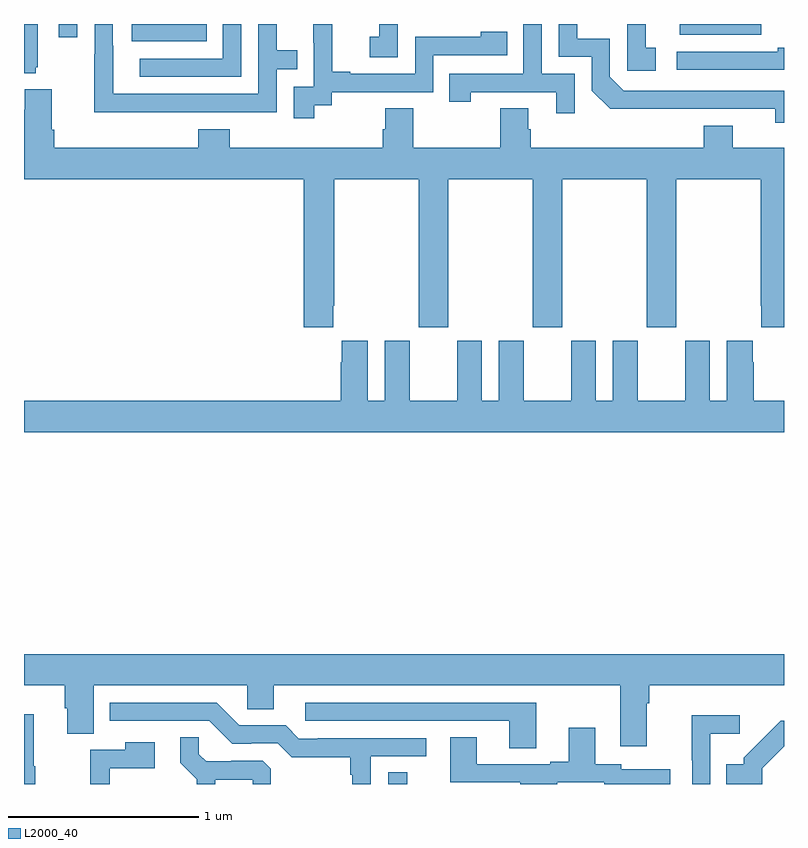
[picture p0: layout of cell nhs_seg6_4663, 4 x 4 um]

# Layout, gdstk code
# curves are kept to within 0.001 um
import gdstk
lib = gdstk.Library(unit=1e-6, precision=1e-09)
def R(c, l, rs):  # rectangles x0, y0, x1, y1
    for r in rs: c.add(gdstk.rectangle(r[:2], r[2:], *l))
def P(c, l, *ps):  # polygons
    for p in ps: c.add(gdstk.Polygon(p, *l))
L2000_40 = (2000, 40)

nhs_seg6_4663 = lib.new_cell('nhs_seg6_4663')
R(nhs_seg6_4663, L2000_40, [(388.917,929.5,389.016,929.561), (387.566,933.41,387.962,933.5), (387.183,933.429,387.279,933.5), (390.452,933.443,390.88,933.5)])
P(nhs_seg6_4663, L2000_40, [(387.062,933.273),(387.073,933.273),(387.073,933.5),(387,933.5),(387,933.242),(387.062,933.242)],
  [(388.143,933.5),(388.047,933.5),(388.047,933.318),(387.609,933.318),(387.609,933.222),(388.143,933.222)],
  [(390.325,933.375),(390.272,933.375),(390.272,933.5),(390.174,933.5),(390.174,933.255),(390.325,933.255)],
  [(387.833,933.036),(388.329,933.036),(388.329,933.261),(388.439,933.261),(388.439,933.362),(388.329,933.362),(388.329,933.5),(388.233,933.5),(388.233,933.132),(387.469,933.132),(387.469,933.386),(387.468,933.386),(387.468,933.5),(387.372,933.5),(387.372,933.341),(387.37,933.341),(387.37,933.035),(387.833,933.035)],
  [(391,933.15),(390.156,933.15),(390.084,933.222),(390.084,933.423),(389.911,933.423),(389.911,933.5),(389.814,933.5),(389.814,933.327),(389.988,933.327),(389.988,933.15),(390.086,933.053),(390.954,933.054),(390.954,932.981),(391,932.981)],
  [(389.898,933.237),(389.724,933.237),(389.724,933.5),(389.628,933.5),(389.628,933.237),(389.239,933.237),(389.239,933.09),(389.35,933.09),(389.35,933.141),(389.801,933.141),(389.801,933.03),(389.898,933.03)],
  [(388.968,933.5),(388.87,933.5),(388.87,933.433),(388.821,933.433),(388.821,933.324),(388.968,933.324)],
  [(388.528,933.073),(388.62,933.073),(388.62,933.141),(389.154,933.141),(389.154,933.336),(389.543,933.336),(389.543,933.459),(389.403,933.459),(389.403,933.432),(389.058,933.432),(389.058,933.237),(388.717,933.237),(388.717,933.25),(388.622,933.25),(388.622,933.5),(388.523,933.5),(388.523,933.401),(388.524,933.401),(388.524,933.171),(388.419,933.171),(388.419,933.003),(388.528,933.003)],
  [(391,933.374),(390.967,933.374),(390.967,933.354),(390.435,933.354),(390.435,933.258),(391,933.258)],
  [(388.627,932.017),(388.632,932.017),(388.632,932.684),(389.077,932.684),(389.077,931.905),(389.232,931.905),(389.232,932.684),(389.677,932.684),(389.677,931.905),(389.832,931.905),(389.832,932.684),(390.277,932.684),(390.277,931.905),(390.432,931.905),(390.432,932.684),(390.877,932.684),(390.877,932.017),(390.881,932.017),(390.881,931.905),(391,931.905),(391,932.848),(390.73,932.848),(390.73,932.965),(390.578,932.965),(390.578,932.848),(389.666,932.848),(389.666,932.946),(389.653,932.946),(389.653,933.056),(389.506,933.056),(389.506,932.848),(389.049,932.848),(389.049,933.056),(388.901,933.056),(388.901,932.946),(388.889,932.946),(388.889,932.848),(388.082,932.848),(388.082,932.947),(387.917,932.947),(387.917,932.848),(387.158,932.848),(387.158,932.944),(387.145,932.944),(387.145,933.157),(387.005,933.157),(387.005,933.05),(387,933.05),(387,932.684),(388.472,932.684),(388.472,931.905),(388.627,931.905)],
  [(391,931.516),(390.842,931.516),(390.842,931.721),(390.835,931.721),(390.835,931.834),(390.698,931.834),(390.698,931.516),(390.61,931.516),(390.61,931.834),(390.479,931.834),(390.479,931.516),(390.229,931.516),(390.229,931.834),(390.098,931.834),(390.098,931.516),(390.01,931.516),(390.01,931.834),(389.879,931.834),(389.879,931.516),(389.629,931.516),(389.629,931.834),(389.498,931.834),(389.498,931.516),(389.41,931.516),(389.41,931.834),(389.279,931.834),(389.279,931.516),(389.029,931.516),(389.029,931.834),(388.898,931.834),(388.898,931.516),(388.81,931.516),(388.81,931.834),(388.673,931.834),(388.673,931.721),(388.667,931.721),(388.667,931.516),(387,931.516),(387,931.352),(391,931.352)],
  [(390.277,929.924),(390.29,929.924),(390.29,930.02),(391,930.02),(391,930.184),(387,930.184),(387,930.02),(387.215,930.02),(387.215,929.898),(387.227,929.898),(387.227,929.764),(387.367,929.764),(387.367,930.02),(388.176,930.02),(388.176,929.893),(388.315,929.893),(388.315,930.02),(390.137,930.02),(390.137,929.7),(390.277,929.7)],
  [(389.695,929.928),(388.479,929.928),(388.479,929.832),(389.555,929.832),(389.555,929.689),(389.695,929.689)],
  [(388.824,929.646),(389.116,929.646),(389.116,929.742),(388.546,929.742),(388.546,929.739),(388.446,929.739),(388.377,929.808),(388.134,929.808),(388.014,929.928),(387.452,929.928),(387.452,929.832),(387.975,929.832),(388.095,929.712),(388.196,929.712),(388.196,929.715),(388.335,929.715),(388.408,929.642),(388.716,929.642),(388.716,929.549),(388.728,929.549),(388.728,929.5),(388.824,929.5)],
  [(387.058,929.593),(387.052,929.593),(387.052,929.866),(387,929.866),(387,929.5),(387.058,929.5)],
  [(390.612,929.765),(390.766,929.765),(390.766,929.863),(390.514,929.863),(390.514,929.624),(390.516,929.624),(390.516,929.5),(390.612,929.5)],
  [(390.885,929.583),(391,929.698),(391,929.832),(390.984,929.832),(390.789,929.637),(390.789,929.605),(390.697,929.605),(390.697,929.5),(390.885,929.5)],
  [(389.806,929.508),(390.054,929.508),(390.054,929.5),(390.4,929.5),(390.4,929.577),(390.144,929.577),(390.144,929.604),(390.007,929.604),(390.007,929.797),(389.867,929.797),(389.867,929.617),(389.771,929.617),(389.771,929.604),(389.383,929.604),(389.383,929.747),(389.243,929.747),(389.243,929.508),(389.613,929.508),(389.613,929.5),(389.806,929.5)],
  [(388.007,929.522),(388.204,929.522),(388.204,929.5),(388.298,929.5),(388.298,929.581),(388.257,929.622),(388.092,929.622),(388.092,929.619),(387.958,929.619),(387.921,929.656),(387.921,929.747),(387.823,929.747),(387.823,929.611),(387.909,929.525),(387.909,929.5),(388.007,929.5)],
  [(387.45,929.583),(387.688,929.583),(387.688,929.719),(387.532,929.719),(387.532,929.679),(387.349,929.679),(387.349,929.5),(387.45,929.5)])

lib.write_gds('nhs_seg6_4663.gds')
